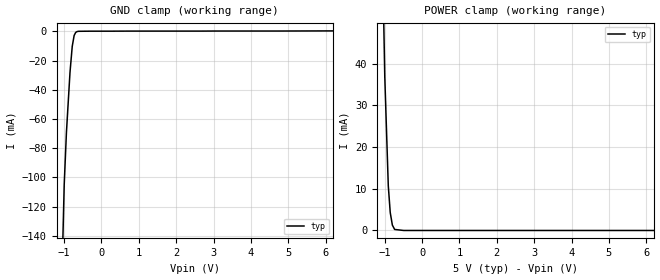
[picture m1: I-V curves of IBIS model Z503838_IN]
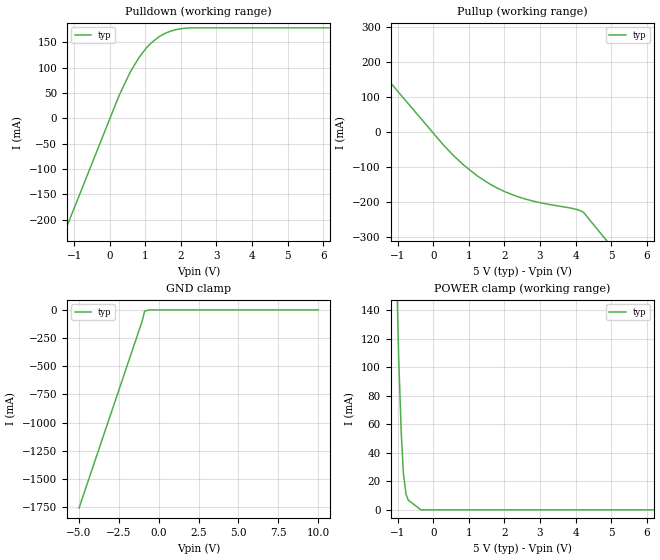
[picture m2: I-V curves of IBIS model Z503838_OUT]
| YOU ARE ONLY AUTHORIZED TO USE THIS SOFTWARE
| ACCORDING TO LICENSOR'S LICENSE RESTRICTIONS.
[IBIS Ver] 3.1
[File Name] mc74act161d.ibs
[File Rev] 2.0
[Source] Measured and created by ICX Technology
[Date] Friday 7/14/00 9:08:01 AM
[Copyright]
| (C) COPYRIGHT 1993-2000
| MENTOR GRAPHICS CORPORATION
| ICX STANDARD LIBRARY, ICX PROJECT MODELING,
| ICX CUSTOM MODELING, ICX VENDOR MODEL
| ALL RIGHTS RESERVED.
| THE FOLLOWING ARE TRADEMARKS OR SERVICE MARKS OF
| MENTOR GRAPHICS CORPORATION:ICX (R), ICX STANDARD
| LIBRARY(R), ICX PROJECT MODELING(R), ICX CUSTOM
| MODELING(R), qualityIBIS(TM), MODELVIEWER(TM),
| AND MODELEDITOR(TM)
| ALL COPIES OF SOFTWARE, INCLUDING BUT NOT LIMITED TO
| ANY MODIFICATIONS, ENHANCEMENTS OR DERIVATIVE WORKS,
| MUST CONTAIN ALL MENTOR GRAPHICS CORPORATION'S
| NOTICES AND LEGENDS, INCLUDING THOSE EMBEDDED IN
| SOFTWARE AND THOSE AFFIXED TO SOFTWARE MEDIUM
| AND CONTAINER, AS RECEIVED FROM MENTOR GRAPHICS
| CORPORATION.
|  ZAP Model Builder 2.7
[Component] MC74ACT161D
[Manufacturer] OnSemiconductor
[Package]
| variable   typ   min   max
R_pkg  .156ohms NA NA
L_pkg  3.148nH NA NA
C_pkg  .388pF NA NA
[Pin] signal_name  model_name  R_pin  L_pin C_pin
1 _M_R Z503838_IN .162 3.798n .418p
2 CP Z503838_IN .158 3.358n .398p
3 D0 Z503838_IN .154 2.928n .378p
4 D1 Z503838_IN .15 2.508n .358p
5 D2 Z503838_IN .15 2.508n .358p
6 D3 Z503838_IN .154 2.928n .378p
7 CEP Z503838_IN .158 3.358n .398p
8 GND GND .162 3.798n .418p
9 _P_E Z503838_IN .162 3.798n .418p
10 CET Z503838_IN .158 3.358n .398p
11 Q3 Z503838_OUT .154 2.928n .378p
12 Q2 Z503838_OUT .15 2.508n .358p
13 Q1 Z503838_OUT .15 2.508n .358p
14 Q0 Z503838_OUT .154 2.928n .378p
15 TC Z503838_OUT .158 3.358n .398p
16 Vcc POWER .162 3.798n .418p
| Models and submodels in the file (2): Z503838_IN (Input), Z503838_OUT (Output)
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| (C) COPYRIGHT 1993-2000
| MENTOR GRAPHICS CORPORATION
| ICX STANDARD LIBRARY, ICX PROJECT MODELING,
| ICX CUSTOM MODELING, ICX VENDOR MODEL
| ALL RIGHTS RESERVED.
| THE FOLLOWING ARE TRADEMARKS OR SERVICE MARKS OF
| MENTOR GRAPHICS CORPORATION:ICX (R), ICX STANDARD
| LIBRARY(R), ICX PROJECT MODELING(R), ICX CUSTOM
| MODELING(R), qualityIBIS(TM), MODELVIEWER(TM),
| AND MODELEDITOR(TM)
| ALL COPIES OF SOFTWARE, INCLUDING BUT NOT LIMITED TO
| ANY MODIFICATIONS, ENHANCEMENTS OR DERIVATIVE WORKS,
| MUST CONTAIN ALL MENTOR GRAPHICS CORPORATION'S
| NOTICES AND LEGENDS, INCLUDING THOSE EMBEDDED IN
| SOFTWARE AND THOSE AFFIXED TO SOFTWARE MEDIUM
| AND CONTAINER, AS RECEIVED FROM MENTOR GRAPHICS
| CORPORATION.
| Model Application Version 1.89 2/18/99.
[Model] Z503838_IN
Model_type Input
Vinl = 800.0mV
Vinh = 2.000V
C_comp 4.000pF NA NA
| variable typ   min   max
[Voltage Range] 5.000V NA NA
[GND Clamp Reference] 0.000V NA NA
[POWER Clamp Reference] 5.000V NA NA
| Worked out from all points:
|   GND clamp passes 1 mA (typ) near -0.69 V on its own axis
|   POWER clamp passes 1 mA (typ) near -0.78 V on its own axis
[GND Clamp]
-5V       -3.168A    NA         NA
-1.201V   -319.2mA   NA         NA
-994.4mV  -104.9mA   NA         NA
-935mV    -69.16mA   NA         NA
-839.5mV  -27.98mA   NA         NA
-779.8mV  -10.27mA   NA         NA
-728.8mV  -2.762mA   NA         NA
-687.8mV  -682uA     NA         NA
-649mV    -72.91uA   NA         NA
10V       616.4uA    NA         NA
[POWER Clamp]
-5V       2.366A     NA         NA
-1.128V   99.73mA    NA         NA
-996mV    36.87mA    NA         NA
-902mV    10.71mA    NA         NA
-850mV    4.298mA    NA         NA
-793mV    1.292mA    NA         NA
-732mV    245uA      NA         NA
-488mV    0A         NA         NA
10V       0A         NA         NA
| (C) COPYRIGHT 1993-2000
| MENTOR GRAPHICS CORPORATION
| ICX STANDARD LIBRARY, ICX PROJECT MODELING,
| ICX CUSTOM MODELING, ICX VENDOR MODEL
| ALL RIGHTS RESERVED.
| THE FOLLOWING ARE TRADEMARKS OR SERVICE MARKS OF
| MENTOR GRAPHICS CORPORATION:ICX (R), ICX STANDARD
| LIBRARY(R), ICX PROJECT MODELING(R), ICX CUSTOM
| MODELING(R), qualityIBIS(TM), MODELVIEWER(TM),
| AND MODELEDITOR(TM)
| ALL COPIES OF SOFTWARE, INCLUDING BUT NOT LIMITED TO
| ANY MODIFICATIONS, ENHANCEMENTS OR DERIVATIVE WORKS,
| MUST CONTAIN ALL MENTOR GRAPHICS CORPORATION'S
| NOTICES AND LEGENDS, INCLUDING THOSE EMBEDDED IN
| SOFTWARE AND THOSE AFFIXED TO SOFTWARE MEDIUM
| AND CONTAINER, AS RECEIVED FROM MENTOR GRAPHICS
| CORPORATION.
| Model Application Version 1.89 2/18/99.
[Model] Z503838_OUT
Model_type Output
Vref=0.000V
Rref=500.0ohms
Cref=50.00pF
Vmeas=1.500V
C_comp 8.000pF NA NA
| variable typ   min   max
[Voltage Range] 5.000V NA NA
[POWER Clamp Reference] 5.000V NA NA
[Pullup Reference] 5.000V NA NA
[Pulldown Reference] 0.000V NA NA
[GND Clamp Reference] 0.000V NA NA
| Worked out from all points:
|   slope of the pulldown table from 0 to 0.75 V, typ, clamps not added: 6.65 ohm
|   slope of the pullup table from 0 to 0.75 V, typ, clamps not added: 9.22 ohm
[GND Clamp]
-5V       -1.759A    NA         NA
-1.04V    -99.32mA   NA         NA
-887.6mV  -11.35mA   NA         NA
-591.7mV  0A         NA         NA
10V       0A         NA         NA
[Pulldown]
-5V       -881.3mA   NA         NA
258.8mV   44.71mA    NA         NA
568.2mV   90.5mA     NA         NA
815.1mV   119.6mA    NA         NA
1.035V    139.7mA    NA         NA
1.162V    148.9mA    NA         NA
1.387V    161.5mA    NA         NA
1.719V    172.6mA    NA         NA
2.01V     177.3mA    NA         NA
2.29V     178.8mA    NA         NA
10V       178.9mA    NA         NA
[Pullup]
-5V       594.3mA    NA         NA
284mV     -36.91mA   NA         NA
859mV     -94.65mA   NA         NA
1.246V    -125.8mA   NA         NA
1.562V    -146.7mA   NA         NA
2.017V    -170.5mA   NA         NA
2.633V    -192.5mA   NA         NA
4.043V    -221.2mA   NA         NA
4.232V    -230.2mA   NA         NA
10V       -946.7mA   NA         NA
[POWER Clamp]
-5V       4.334A     NA         NA
-976mV    109mA      NA         NA
-903mV    54.81mA    NA         NA
-840mV    25.34mA    NA         NA
-767mV    10.81mA    NA         NA
-702mV    6.812mA    NA         NA
-351mV    0A         NA         NA
10V       0A         NA         NA
[Ramp]
| variable typ min max
dV/dt_r 2.962/226.3p NA NA
dV/dt_f 2.962/273.5p NA NA
R_load = 500.0Ohms
